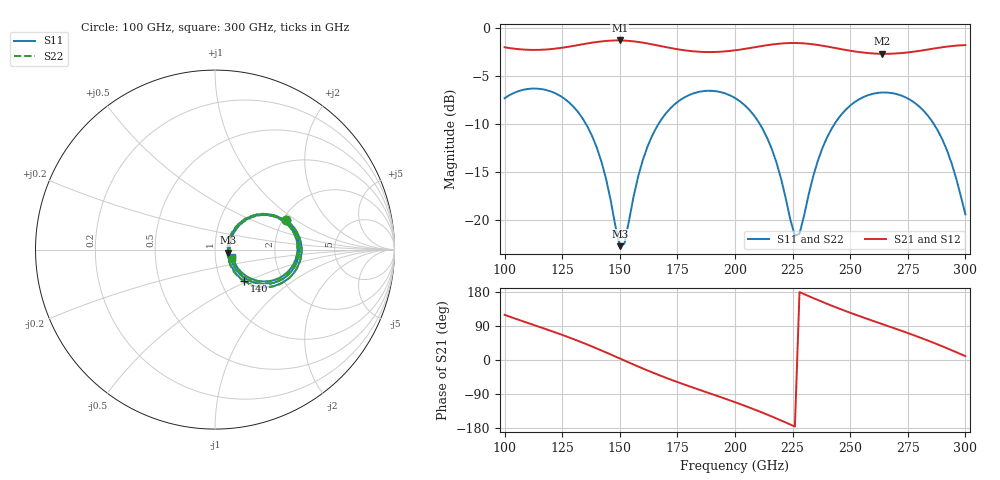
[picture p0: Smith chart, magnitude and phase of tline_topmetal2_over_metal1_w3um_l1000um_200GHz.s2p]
#  GHZ S DB R 50
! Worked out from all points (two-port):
!   101 points, 100 GHz to 300 GHz, reference 50 ohm
!   highest |S21| = -1.32 dB at 150 GHz (marker M1); lowest = -2.7 dB at 264 GHz (marker M2)
!   |S21| within 3 dB of the highest: start of sweep to end of sweep
!   lowest |S11| = -22.7 dB at 150 GHz (marker M3), VSWR 1.16, Z = 57.6 - j1.95 ohm
!   |S11| at or under -10 dB: 135.2 GHz to 166.9 GHz (31.62 GHz wide, 20.9 % of centre); 210.7 GHz to 243.3 GHz (32.58 GHz wide, 14.4 % of centre); 286.2 GHz to end of sweep
!   |S22| runs from -23.0 to -6.3 dB; largest |S21 - S12| = 1.5e-13
!   S11 on the Smith chart (normalised r, x): 100 GHz: 2.08, +0.84; 140 GHz: 1.29, -0.48; 300 GHz: 1.21, -0.11
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100  -7.33 22.6  -2.03 119.1  -2.03 119.1  -7.33 22.5
116  -6.38 -6.2  -2.29 85.5  -2.29 85.5  -6.39 -6.5
126  -7.39 -24.3  -2.04 64.0  -2.04 64.0  -7.39 -24.6
134  -9.50 -38.6  -1.71 45.4  -1.71 45.4  -9.50 -39.0
140  -12.47 -47.2  -1.48 30.4  -1.48 30.4  -12.49 -47.8
144  -15.70 -48.6  -1.37 20.0  -1.37 20.0  -15.75 -49.4
150  -22.74 -13.4  -1.32 4.0  -1.32 4.0  -23.02 -14.1
152  -22.48 16.3  -1.34 -1.4  -1.34 -1.4  -22.75 16.8
160  -13.76 46.8  -1.55 -22.4  -1.55 -22.4  -13.80 47.3
168  -9.56 36.7  -1.92 -42.1  -1.92 -42.1  -9.57 36.9
184  -6.69 8.9  -2.49 -77.5  -2.49 -77.5  -6.69 8.9
200  -7.31 -19.1  -2.35 -111.4  -2.35 -111.4  -7.31 -19.1
214  -11.49 -41.6  -1.81 -144.2  -1.81 -144.2  -11.49 -41.6
226  -21.67 -9.7  -1.58 -175.5  -1.58 -175.5  -21.64 -9.7
228  -21.44 15.0  -1.60 179.2  -1.60 179.2  -21.41 14.9
234  -15.42 44.7  -1.72 163.4  -1.72 163.4  -15.41 44.5
246  -9.08 33.3  -2.22 133.8  -2.22 133.8  -9.08 33.1
264  -6.74 2.8  -2.71 94.6  -2.71 94.6  -6.74 2.6
268  -6.80 -4.0  -2.70 86.2  -2.70 86.2  -6.80 -4.3
286  -9.90 -33.8  -2.17 45.9  -2.17 45.9  -9.91 -34.1
294  -14.10 -40.7  -1.91 25.9  -1.91 25.9  -14.11 -41.1
300  -19.42 -24.2  -1.81 10.2  -1.81 10.2  -19.47 -24.6
